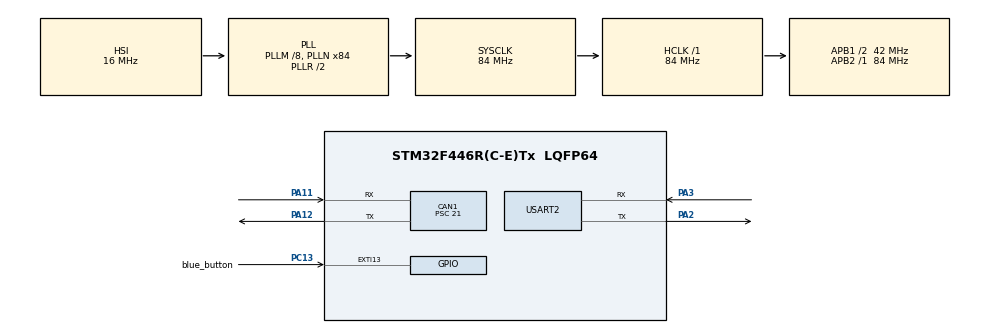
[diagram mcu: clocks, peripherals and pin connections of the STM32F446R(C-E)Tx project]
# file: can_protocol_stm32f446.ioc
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CAN1.BS1=CAN_BS1_14TQ
CAN1.BS2=CAN_BS2_5TQ
CAN1.CalculateBaudRate=100000
CAN1.CalculateTimeBit=10000
CAN1.CalculateTimeQuantum=500.0
CAN1.NART=ENABLE
CAN1.Prescaler=21
Mcu.Family=STM32F4
Mcu.Name=STM32F446R(C-E)Tx
Mcu.Package=LQFP64
NVIC.CAN1_RX0_IRQn=true\:0\:0\:false\:false\:true\:true\:true\:true
NVIC.EXTI15_10_IRQn=true\:0\:0\:false\:false\:true\:true\:true\:true
NVIC.PriorityGroup=NVIC_PRIORITYGROUP_4
PA11.Mode=CAN_Activate
PA11.Signal=CAN1_RX
PA12.Mode=CAN_Activate
PA12.Signal=CAN1_TX
PA2.Mode=Asynchronous
PA2.Signal=USART2_TX
PA3.Mode=Asynchronous
PA3.Signal=USART2_RX
PC13.GPIO_Label=blue_button
PC13.GPIO_ModeDefaultEXTI=GPIO_MODE_IT_FALLING
PC13.GPIO_PuPd=GPIO_PULLUP
PC13.Signal=GPXTI13
ProjectManager.HeapSize=0x200
ProjectManager.StackSize=0x400
ProjectManager.TargetToolchain=STM32CubeIDE
RCC.AHBFreq_Value=84000000
RCC.APB1CLKDivider=RCC_HCLK_DIV2
RCC.APB1Freq_Value=42000000
RCC.APB1TimFreq_Value=84000000
RCC.APB2Freq_Value=84000000
RCC.APB2TimFreq_Value=84000000
RCC.CortexFreq_Value=84000000
RCC.HCLKFreq_Value=84000000
RCC.PLLM=8
RCC.PLLN=84
RCC.SYSCLKFreq_VALUE=84000000
RCC.SYSCLKSource=RCC_SYSCLKSOURCE_PLLRCLK
RCC.USBFreq_Value=84000000
RCC.VCOOutputFreq_Value=168000000
USART2.VirtualMode=VM_ASYNC
board=custom

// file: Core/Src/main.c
/* USER CODE BEGIN Header */
/**
  ******************************************************************************
  * @file           : main.c
  * @brief          : Main program body
  ******************************************************************************
  * @attention
  *
  * Copyright (c) 2025 STMicroelectronics.
  * All rights reserved.
  *
  * This software is licensed under terms that can be found in the LICENSE file
  * in the root directory of this software component.
  * If no LICENSE file comes with this software, it is provided AS-IS.
  *
  ******************************************************************************
  */
/* USER CODE END Header */
#include "main.h"

/* USER CODE BEGIN Includes */
#include <stdio.h>
/* USER CODE END Includes */

/* USER CODE BEGIN PD */
#ifdef __GNUC__
/* With GCC, small printf (option LD Linker->Libraries->Small printf
   set to 'Yes') calls __io_putchar() */
#define PUTCHAR_PROTOTYPE int __io_putchar(int ch)
#else
#define PUTCHAR_PROTOTYPE int fputc(int ch, FILE *f)
#endif /* __GNUC__ */

/* USER CODE END PD */

CAN_HandleTypeDef hcan1;

UART_HandleTypeDef huart2;

/* USER CODE BEGIN PV */
CAN_FilterTypeDef canFilter1;
CAN_RxHeaderTypeDef canRxHeader;
CAN_TxHeaderTypeDef canTxHeader;
uint8_t can1Rx0Data[8];
uint32_t TxMailBox;
uint8_t can1Tx0Data[8];
volatile int button_flag = 0;
volatile int can1_rx0_flag = 0;
/* USER CODE END PV */

void SystemClock_Config(void);
static void MX_GPIO_Init(void);
static void MX_CAN1_Init(void);
static void MX_USART2_UART_Init(void);

int main(void)
{

  /* MCU Configuration--------------------------------------------------------*/

  /* Reset of all peripherals, Initializes the Flash interface and the Systick. */
  HAL_Init();

  /* Configure the system clock */
  SystemClock_Config();

  /* Initialize all configured peripherals */
  MX_GPIO_Init();
  MX_CAN1_Init();
  MX_USART2_UART_Init();
  /* USER CODE BEGIN 2 */

  /* 필터 쌍이 2개임. 의미는 없어서 같게 설정함. */
//  canFilter1.FilterMaskIdHigh = 0x7F3 << 5;
//  canFilter1.FilterIdHigh = 0x106 << 5; // 시프트 이유는 레지스터를 참고
//  canFilter1.FilterMaskIdLow = 0x7F3 << 5;
//  canFilter1.FilterIdLow = 0x106 << 5;
//
//  canFilter1.FilterMode = CAN_FILTERMODE_IDMASK;
//  canFilter1.FilterScale = CAN_FILTERSCALE_16BIT;
//  canFilter1.FilterFIFOAssignment = CAN_FILTER_FIFO0;
//
//  canFilter1.SlaveStartFilterBank = 0; // 필터를 통과한 ID가 저장될 곳.
//
//  HAL_CAN_ConfigFilter(&hcan1, &canFilter1); // can id filter setting
//  HAL_CAN_ActivateNotification(&hcan1, CAN_IT_RX_FIFO0_MSG_PENDING); // 메시지가 들어오면 인터럽트 발생.
//
//  HAL_CAN_Start(&hcan1);

  CAN_FilterTypeDef f = {0};
  f.FilterBank = 0;
  f.FilterMode = CAN_FILTERMODE_IDMASK;
  f.FilterScale = CAN_FILTERSCALE_32BIT;

  // 표준 ID는 High 레지스터에 << 5 해서 넣음
  f.FilterIdHigh     = (0x000A << 5);    // 수신 ID = 0x0A
  f.FilterIdLow      = 0x0000;           // IDE=0, RTR=0
  f.FilterMaskIdHigh = (0x07FF << 5);    // 11비트 모두 비교
  f.FilterMaskIdLow  = 0x0000;

  f.FilterFIFOAssignment = CAN_FILTER_FIFO0;
  f.FilterActivation = ENABLE;
  f.SlaveStartFilterBank = 14;           // (듀얼 CAN이면 경계값, 단일이면 무시)
  HAL_CAN_ConfigFilter(&hcan1, &f);

  HAL_CAN_Start(&hcan1);
  // 수신 FIFO0 메시지 도착 인터럽트만 활성화 (에러/경고 알림은 잠깐 비활성)
  HAL_CAN_ActivateNotification(&hcan1, CAN_IT_RX_FIFO0_MSG_PENDING);

  printf("main start()!!\r\n");
  /* USER CODE END 2 */

  /* Infinite loop */
  /* USER CODE BEGIN WHILE */
  while (1)
  {
	  if(button_flag)
	  {
		  printf("push button!!\r\n");
		  button_flag = 0;

		  canTxHeader.StdId = 0x102;
		  canTxHeader.RTR = CAN_RTR_DATA;
		  canTxHeader.IDE = CAN_ID_STD;
		  canTxHeader.DLC = 8;

		  for(int i=0; i<8; i++)
		  {
			  can1Tx0Data[i]++;
		  }

		  TxMailBox = HAL_CAN_GetTxMailboxesFreeLevel(&hcan1); // 비어있는 메일 박스 번호를 리턴
		  HAL_CAN_AddTxMessage(&hcan1, &canTxHeader, &can1Tx0Data, &TxMailBox); // 비어있는 메일 박스에 데이터를 채움.
	  }
	  if(can1_rx0_flag)
	  {
		  can1_rx0_flag = 0;
		  printf("receive\r\n");
		  for(int i=0; i<8; i++)
		  {
			  printf("%s ",can1Rx0Data[i]);
		  }
		  printf("\r\n");
	  }
    /* USER CODE END WHILE */

  }
}

void SystemClock_Config(void)
{
  RCC_OscInitTypeDef RCC_OscInitStruct = {0};
  RCC_ClkInitTypeDef RCC_ClkInitStruct = {0};

  /** Configure the main internal regulator output voltage
  */
  __HAL_RCC_PWR_CLK_ENABLE();
  __HAL_PWR_VOLTAGESCALING_CONFIG(PWR_REGULATOR_VOLTAGE_SCALE3);

  /** Initializes the RCC Oscillators according to the specified parameters
  * in the RCC_OscInitTypeDef structure.
  */
  RCC_OscInitStruct.OscillatorType = RCC_OSCILLATORTYPE_HSI;
  RCC_OscInitStruct.HSIState = RCC_HSI_ON;
  RCC_OscInitStruct.HSICalibrationValue = RCC_HSICALIBRATION_DEFAULT;
  RCC_OscInitStruct.PLL.PLLState = RCC_PLL_ON;
  RCC_OscInitStruct.PLL.PLLSource = RCC_PLLSOURCE_HSI;
  RCC_OscInitStruct.PLL.PLLM = 8;
  RCC_OscInitStruct.PLL.PLLN = 84;
  RCC_OscInitStruct.PLL.PLLP = RCC_PLLP_DIV2;
  RCC_OscInitStruct.PLL.PLLQ = 2;
  RCC_OscInitStruct.PLL.PLLR = 2;
  if (HAL_RCC_OscConfig(&RCC_OscInitStruct) != HAL_OK)
  {
    Error_Handler();
  }

  /** Initializes the CPU, AHB and APB buses clocks
  */
  RCC_ClkInitStruct.ClockType = RCC_CLOCKTYPE_HCLK|RCC_CLOCKTYPE_SYSCLK
                              |RCC_CLOCKTYPE_PCLK1|RCC_CLOCKTYPE_PCLK2;
  RCC_ClkInitStruct.SYSCLKSource = RCC_SYSCLKSOURCE_PLLRCLK;
  RCC_ClkInitStruct.AHBCLKDivider = RCC_SYSCLK_DIV1;
  RCC_ClkInitStruct.APB1CLKDivider = RCC_HCLK_DIV2;
  RCC_ClkInitStruct.APB2CLKDivider = RCC_HCLK_DIV1;

  if (HAL_RCC_ClockConfig(&RCC_ClkInitStruct, FLASH_LATENCY_2) != HAL_OK)
  {
    Error_Handler();
  }
}

static void MX_CAN1_Init(void)
{

  hcan1.Instance = CAN1;
  hcan1.Init.Prescaler = 21;
  hcan1.Init.Mode = CAN_MODE_NORMAL;
  hcan1.Init.SyncJumpWidth = CAN_SJW_1TQ;
  hcan1.Init.TimeSeg1 = CAN_BS1_14TQ;
  hcan1.Init.TimeSeg2 = CAN_BS2_5TQ;
  hcan1.Init.TimeTriggeredMode = DISABLE;
  hcan1.Init.AutoBusOff = DISABLE;
  hcan1.Init.AutoWakeUp = DISABLE;
  hcan1.Init.AutoRetransmission = ENABLE;
  hcan1.Init.ReceiveFifoLocked = DISABLE;
  hcan1.Init.TransmitFifoPriority = DISABLE;
  if (HAL_CAN_Init(&hcan1) != HAL_OK)
  {
    Error_Handler();
  }

}

static void MX_USART2_UART_Init(void)
{

  huart2.Instance = USART2;
  huart2.Init.BaudRate = 115200;
  huart2.Init.WordLength = UART_WORDLENGTH_8B;
  huart2.Init.StopBits = UART_STOPBITS_1;
  huart2.Init.Parity = UART_PARITY_NONE;
  huart2.Init.Mode = UART_MODE_TX_RX;
  huart2.Init.HwFlowCtl = UART_HWCONTROL_NONE;
  huart2.Init.OverSampling = UART_OVERSAMPLING_16;
  if (HAL_UART_Init(&huart2) != HAL_OK)
  {
    Error_Handler();
  }

}

static void MX_GPIO_Init(void)
{
  GPIO_InitTypeDef GPIO_InitStruct = {0};

  /* GPIO Ports Clock Enable */
  __HAL_RCC_GPIOC_CLK_ENABLE();
  __HAL_RCC_GPIOA_CLK_ENABLE();

  /*Configure GPIO pin : blue_button_Pin */
  GPIO_InitStruct.Pin = blue_button_Pin;
  GPIO_InitStruct.Mode = GPIO_MODE_IT_FALLING;
  GPIO_InitStruct.Pull = GPIO_PULLUP;
  HAL_GPIO_Init(blue_button_GPIO_Port, &GPIO_InitStruct);

  /* EXTI interrupt init*/
  HAL_NVIC_SetPriority(EXTI15_10_IRQn, 0, 0);
  HAL_NVIC_EnableIRQ(EXTI15_10_IRQn);

}

/* USER CODE BEGIN 4 */
PUTCHAR_PROTOTYPE
{
  /* Place your implementation of fputc here */
  /* e.g. write a character to the USART6 and Loop until the end of transmission */
  HAL_UART_Transmit(&huart2, (uint8_t *)&ch, 1, 0xFFFF);

  return ch;
}

void HAL_CAN_RxFifo0MsgPendingCallback(CAN_HandleTypeDef* hcan)
{
    CAN_RxHeaderTypeDef rxh;
    uint8_t d[8];

    while (HAL_CAN_GetRxFifoFillLevel(hcan, CAN_RX_FIFO0) > 0) {
        if (HAL_CAN_GetRxMessage(hcan, CAN_RX_FIFO0, &rxh, d) == HAL_OK) {
            // 표준/확장 구분
            if (rxh.IDE == CAN_ID_STD) {
                printf("RX std 0x%03lX DLC=%d : ", rxh.StdId, rxh.DLC);
            } else {
                printf("RX ext 0x%08lX DLC=%d : ", rxh.ExtId, rxh.DLC);
            }
            // DLC 만큼만 HEX로
            for (uint32_t i=0; i<rxh.DLC && i<8; ++i) printf("%02X ", d[i]);
            printf("\r\n");
        } else {
            // 읽기 실패 시 탈출(무한루프 방지)
            break;
        }
    }
}

void HAL_GPIO_EXTI_Callback(uint16_t GPIO_Pin)
{
	button_flag = 1;
}
/* USER CODE END 4 */

void Error_Handler(void)
{
  __disable_irq();
  while (1)
  {
  }
}
